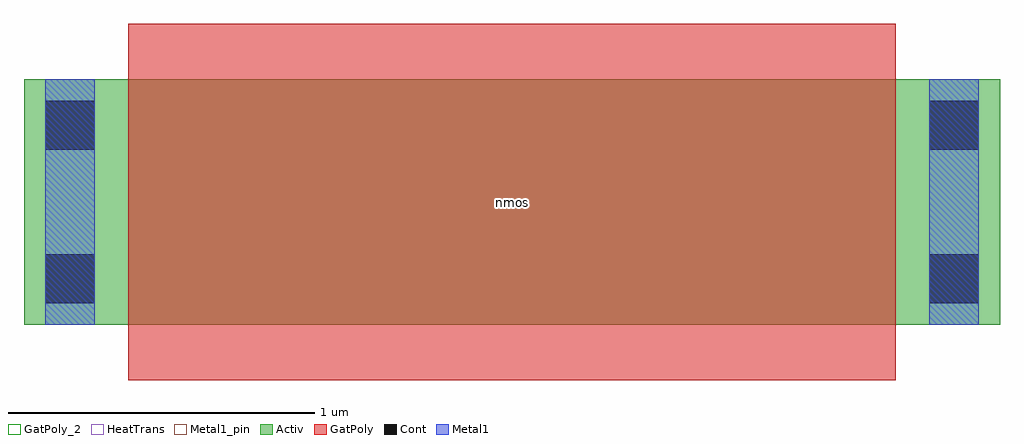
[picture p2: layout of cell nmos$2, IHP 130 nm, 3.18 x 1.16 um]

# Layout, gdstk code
import gdstk
lib = gdstk.Library(unit=1e-6, precision=1e-09)
def R(c, l, rs):  # rectangles x0, y0, x1, y1
    for r in rs: c.add(gdstk.rectangle(r[:2], r[2:], *l))
Activ = (1, 0)
GatPoly = (5, 0)
GatPoly_2 = (5, 2)
Cont = (6, 0)
Metal1 = (8, 0)
Metal1_pin = (8, 2)
HeatTrans = (51, 0)

nmos_2 = lib.new_cell('nmos$2')
R(nmos_2, Activ, [(0,0,0.3,0.3), (0,0,3.18,0.8), (2.88,0,3.18,0.3)])
R(nmos_2, GatPoly, [(0.34,-0.18,2.84,0.98)])
R(nmos_2, GatPoly_2, [(0.34,-0.18,2.84,0.98)])
R(nmos_2, Cont, [(0.07,0.07,0.23,0.23), (2.95,0.07,3.11,0.23), (0.07,0.57,0.23,0.73), (2.95,0.57,3.11,0.73)])
R(nmos_2, Metal1, [(0.07,0,0.23,0.8), (2.95,0,3.11,0.8)])
R(nmos_2, Metal1_pin, [(0.07,0,0.23,0.8), (2.95,0,3.11,0.8)])
R(nmos_2, HeatTrans, [(0.34,-0.18,2.84,0.98)])
nmos_2.add(gdstk.Label('nmos', (1.59,0.4), layer=63, texttype=0))
nmos_2.add(gdstk.Label('nmos', (1.59,0.4), layer=51, texttype=0))

lib.write_gds('nmos_2.gds')
